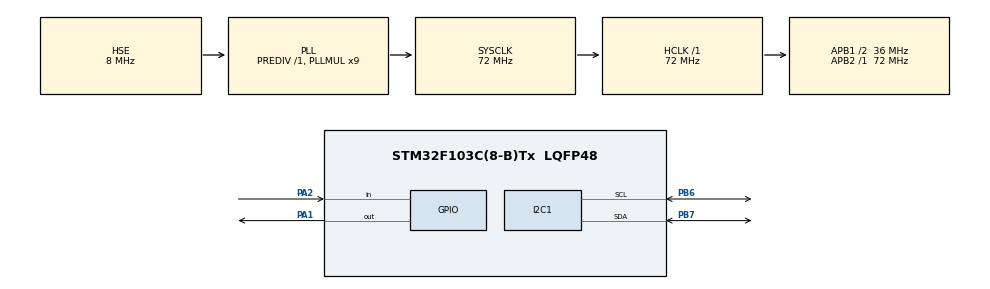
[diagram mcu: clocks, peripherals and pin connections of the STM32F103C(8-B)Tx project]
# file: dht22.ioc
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Mcu.Family=STM32F1
Mcu.Name=STM32F103C(8-B)Tx
Mcu.Package=LQFP48
NVIC.PriorityGroup=NVIC_PRIORITYGROUP_4
PA1.Signal=GPIO_Output
PA13.Mode=Serial_Wire
PA13.Signal=SYS_JTMS-SWDIO
PA14.Mode=Serial_Wire
PA14.Signal=SYS_JTCK-SWCLK
PA2.Signal=GPIO_Input
PB6.Mode=I2C
PB6.Signal=I2C1_SCL
PB7.Mode=I2C
PB7.Signal=I2C1_SDA
PD0-OSC_IN.Mode=HSE-External-Oscillator
PD0-OSC_IN.Signal=RCC_OSC_IN
PD1-OSC_OUT.Mode=HSE-External-Oscillator
PD1-OSC_OUT.Signal=RCC_OSC_OUT
ProjectManager.HeapSize=0x200
ProjectManager.StackSize=0x400
ProjectManager.TargetToolchain=MDK-ARM V5
RCC.AHBFreq_Value=72000000
RCC.APB1CLKDivider=RCC_HCLK_DIV2
RCC.APB1Freq_Value=36000000
RCC.APB1TimFreq_Value=72000000
RCC.APB2Freq_Value=72000000
RCC.APB2TimFreq_Value=72000000
RCC.HCLKFreq_Value=72000000
RCC.PLLMUL=RCC_PLL_MUL9
RCC.PLLSourceVirtual=RCC_PLLSOURCE_HSE
RCC.SYSCLKFreq_VALUE=72000000
RCC.SYSCLKSource=RCC_SYSCLKSOURCE_PLLCLK
RCC.USBFreq_Value=72000000
board=dht22

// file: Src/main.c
/**
  ******************************************************************************
  * File Name          : main.c
  * Description        : Main program body
  ******************************************************************************
  ** This notice applies to any and all portions of this file
  * that are not between comment pairs USER CODE BEGIN and
  * USER CODE END. Other portions of this file, whether
  * inserted by the user or by software development tools
  * are owned by their respective copyright owners.
  *
  * COPYRIGHT(c) 2017 STMicroelectronics
  *
  * Redistribution and use in source and binary forms, with or without modification,
  * are permitted provided that the following conditions are met:
  *   1. Redistributions of source code must retain the above copyright notice,
  *      this list of conditions and the following disclaimer.
  *   2. Redistributions in binary form must reproduce the above copyright notice,
  *      this list of conditions and the following disclaimer in the documentation
  *      and/or other materials provided with the distribution.
  *   3. Neither the name of STMicroelectronics nor the names of its contributors
  *      may be used to endorse or promote products derived from this software
  *      without specific prior written permission.
  *
  * THIS SOFTWARE IS PROVIDED BY THE COPYRIGHT HOLDERS AND CONTRIBUTORS "AS IS"
  * AND ANY EXPRESS OR IMPLIED WARRANTIES, INCLUDING, BUT NOT LIMITED TO, THE
  * IMPLIED WARRANTIES OF MERCHANTABILITY AND FITNESS FOR A PARTICULAR PURPOSE ARE
  * DISCLAIMED. IN NO EVENT SHALL THE COPYRIGHT HOLDER OR CONTRIBUTORS BE LIABLE
  * FOR ANY DIRECT, INDIRECT, INCIDENTAL, SPECIAL, EXEMPLARY, OR CONSEQUENTIAL
  * DAMAGES (INCLUDING, BUT NOT LIMITED TO, PROCUREMENT OF SUBSTITUTE GOODS OR
  * SERVICES; LOSS OF USE, DATA, OR PROFITS; OR BUSINESS INTERRUPTION) HOWEVER
  * CAUSED AND ON ANY THEORY OF LIABILITY, WHETHER IN CONTRACT, STRICT LIABILITY,
  * OR TORT (INCLUDING NEGLIGENCE OR OTHERWISE) ARISING IN ANY WAY OUT OF THE USE
  * OF THIS SOFTWARE, EVEN IF ADVISED OF THE POSSIBILITY OF SUCH DAMAGE.
  *
  ******************************************************************************
  */

#include "main.h"
#include "stm32f1xx_hal.h"

/* USER CODE BEGIN Includes */
#include "dwt_stm32_delay.h"
/* USER CODE END Includes */

I2C_HandleTypeDef hi2c1;

/* USER CODE BEGIN PV */
/* Private variables ---------------------------------------------------------*/
uint8_t Rh_byte1, Rh_byte2, Temp_byte1, Temp_byte2;
uint16_t sum, RH, TEMP;
int temp_low, temp_high, rh_low, rh_high;
char temp_char1[2], temp_char2, rh_char1[2], rh_char2;
uint8_t check = 0;
GPIO_InitTypeDef GPIO_InitStruct;
void set_gpio_output (void)
{
	/*Configure GPIO pin output: PA1 */
  GPIO_InitStruct.Pin = GPIO_PIN_1;
  GPIO_InitStruct.Mode = GPIO_MODE_OUTPUT_PP;
  GPIO_InitStruct.Speed = GPIO_SPEED_FREQ_LOW;
  HAL_GPIO_Init(GPIOA, &GPIO_InitStruct);
}

void set_gpio_input (void)
{
	/*Configure GPIO pin input: PA1 */
  GPIO_InitStruct.Pin = GPIO_PIN_1;
  GPIO_InitStruct.Mode = GPIO_MODE_INPUT;
  GPIO_InitStruct.Pull = GPIO_NOPULL;
  HAL_GPIO_Init(GPIOA, &GPIO_InitStruct);
}

/* USER CODE END PV */

void SystemClock_Config(void);
static void MX_GPIO_Init(void);
static void MX_I2C1_Init(void);

/* USER CODE BEGIN PFP */
/* Private function prototypes -----------------------------------------------*/
void lcd_send_cmd (char cmd)
{
  char data_u, data_l;
	uint8_t data_t[4];
	data_u = cmd&0xf0;
	data_l = (cmd<<4)&0xf0;
	data_t[0] = data_u|0x04;  //en=1, rs=0
	data_t[1] = data_u;  //en=0, rs=0
	data_t[2] = data_l|0x04;  //en=1, rs=0
	data_t[3] = data_l;  //en=0, rs=0
	HAL_I2C_Master_Transmit (&hi2c1, 0x4E,(uint8_t *) data_t, 4, 100);
}

void lcd_send_data (char data)
{
	char data_u, data_l;
	uint8_t data_t[4];
	data_u = data&0xf0;
	data_l = (data<<4)&0xf0;
	data_t[0] = data_u|0x05;  //en=1, rs=0
	data_t[1] = data_u|0x01;  //en=0, rs=0
	data_t[2] = data_l|0x05;  //en=1, rs=0
	data_t[3] = data_l|0x01;  //en=0, rs=0
	HAL_I2C_Master_Transmit (&hi2c1, 0x4E,(uint8_t *) data_t, 4, 100);
}

void lcd_init (void)
{
	lcd_send_cmd (0x02);
	lcd_send_cmd (0x28);
	lcd_send_cmd (0x0c);
	lcd_send_cmd (0x80);
}

void lcd_send_string (char *str)
{
	while (*str) lcd_send_data (*str++);
}

void DHT22_start (void)
{
	set_gpio_output ();  // set the pin as output
	HAL_GPIO_WritePin (GPIOA, GPIO_PIN_1, 0);   // pull the pin low
	DWT_Delay_us (500);   // wait for 500us
	HAL_GPIO_WritePin (GPIOA, GPIO_PIN_1, 1);   // pull the pin high
	DWT_Delay_us (30);   // wait for 30us
	set_gpio_input ();   // set as input
}

void check_response (void)
{
	DWT_Delay_us (40);
	if (!(HAL_GPIO_ReadPin (GPIOA, GPIO_PIN_1)))
	{
		DWT_Delay_us (80);
		if ((HAL_GPIO_ReadPin (GPIOA, GPIO_PIN_1))) check = 1;
	}
	while ((HAL_GPIO_ReadPin (GPIOA, GPIO_PIN_1)));   // wait for the pin to go low
}

uint8_t read_data (void)
{
	uint8_t i,j;
	for (j=0;j<8;j++)
	{
		while (!(HAL_GPIO_ReadPin (GPIOA, GPIO_PIN_1)));   // wait for the pin to go high
		DWT_Delay_us (40);   // wait for 40 us
		if ((HAL_GPIO_ReadPin (GPIOA, GPIO_PIN_1)) == 0)   // if the pin is low
		{
			i&= ~(1<<(7-j));   // write 0
		}
		else i|= (1<<(7-j));  // if the pin is high, write 1
		while ((HAL_GPIO_ReadPin (GPIOA, GPIO_PIN_1)));  // wait for the pin to go low
	}
	return i;
}

/* USER CODE END PFP */

int main(void)
{

  /* MCU Configuration----------------------------------------------------------*/

  /* Reset of all peripherals, Initializes the Flash interface and the Systick. */
  HAL_Init();

  /* Configure the system clock */
  SystemClock_Config();

  /* Initialize all configured peripherals */
  MX_GPIO_Init();
  MX_I2C1_Init();

  /* USER CODE BEGIN 2 */
	DWT_Delay_Init ();
	lcd_init ();

	lcd_send_string("starting....");
	HAL_Delay (1000);
  /* USER CODE END 2 */

  /* Infinite loop */
  while (1)
  {

  /* USER CODE BEGIN 3 */
		DHT22_start ();
		check_response ();
		Rh_byte1 = read_data ();
		Rh_byte2 = read_data ();
		Temp_byte1 = read_data ();
		Temp_byte2 = read_data ();
		sum = read_data();
		//if (sum == (Rh_byte1+Rh_byte2+Temp_byte1+Temp_byte2))
		{
			TEMP = ((Temp_byte1<<8)|Temp_byte2);
			RH = ((Rh_byte1<<8)|Rh_byte2);
		}

		temp_low = TEMP/10;
		temp_high = TEMP%10;

		rh_low = RH/10;
		rh_high = RH%10;

		lcd_send_cmd (0x80);
		lcd_send_string ("TEMP:- ");
		lcd_send_data ((TEMP/100)+48);
		lcd_send_data (((TEMP%100)/10)+48);
		lcd_send_data ('.');
		lcd_send_data ((TEMP%10)+48);
		lcd_send_string ("C");

		lcd_send_cmd (0xC0);
		lcd_send_string ("RH:- ");
		lcd_send_data ((RH/100)+48);
		lcd_send_data (((RH%100)/10)+48);
		lcd_send_data ('.');
		lcd_send_data ((RH%10)+48);
		lcd_send_data ('%');

		HAL_Delay (1000);
  }
  /* USER CODE END 3 */

}

/** System Clock Configuration
*/
void SystemClock_Config(void)
{

  RCC_OscInitTypeDef RCC_OscInitStruct;
  RCC_ClkInitTypeDef RCC_ClkInitStruct;

    /**Initializes the CPU, AHB and APB busses clocks
    */
  RCC_OscInitStruct.OscillatorType = RCC_OSCILLATORTYPE_HSE;
  RCC_OscInitStruct.HSEState = RCC_HSE_ON;
  RCC_OscInitStruct.HSEPredivValue = RCC_HSE_PREDIV_DIV1;
  RCC_OscInitStruct.HSIState = RCC_HSI_ON;
  RCC_OscInitStruct.PLL.PLLState = RCC_PLL_ON;
  RCC_OscInitStruct.PLL.PLLSource = RCC_PLLSOURCE_HSE;
  RCC_OscInitStruct.PLL.PLLMUL = RCC_PLL_MUL9;
  if (HAL_RCC_OscConfig(&RCC_OscInitStruct) != HAL_OK)
  {
    _Error_Handler(__FILE__, __LINE__);
  }

    /**Initializes the CPU, AHB and APB busses clocks
    */
  RCC_ClkInitStruct.ClockType = RCC_CLOCKTYPE_HCLK|RCC_CLOCKTYPE_SYSCLK
                              |RCC_CLOCKTYPE_PCLK1|RCC_CLOCKTYPE_PCLK2;
  RCC_ClkInitStruct.SYSCLKSource = RCC_SYSCLKSOURCE_PLLCLK;
  RCC_ClkInitStruct.AHBCLKDivider = RCC_SYSCLK_DIV1;
  RCC_ClkInitStruct.APB1CLKDivider = RCC_HCLK_DIV2;
  RCC_ClkInitStruct.APB2CLKDivider = RCC_HCLK_DIV1;

  if (HAL_RCC_ClockConfig(&RCC_ClkInitStruct, FLASH_LATENCY_2) != HAL_OK)
  {
    _Error_Handler(__FILE__, __LINE__);
  }

    /**Configure the Systick interrupt time
    */
  HAL_SYSTICK_Config(HAL_RCC_GetHCLKFreq()/1000);

    /**Configure the Systick
    */
  HAL_SYSTICK_CLKSourceConfig(SYSTICK_CLKSOURCE_HCLK);

  /* SysTick_IRQn interrupt configuration */
  HAL_NVIC_SetPriority(SysTick_IRQn, 0, 0);
}

/* I2C1 init function */
static void MX_I2C1_Init(void)
{

  hi2c1.Instance = I2C1;
  hi2c1.Init.ClockSpeed = 100000;
  hi2c1.Init.DutyCycle = I2C_DUTYCYCLE_2;
  hi2c1.Init.OwnAddress1 = 0;
  hi2c1.Init.AddressingMode = I2C_ADDRESSINGMODE_7BIT;
  hi2c1.Init.DualAddressMode = I2C_DUALADDRESS_DISABLE;
  hi2c1.Init.OwnAddress2 = 0;
  hi2c1.Init.GeneralCallMode = I2C_GENERALCALL_DISABLE;
  hi2c1.Init.NoStretchMode = I2C_NOSTRETCH_DISABLE;
  if (HAL_I2C_Init(&hi2c1) != HAL_OK)
  {
    _Error_Handler(__FILE__, __LINE__);
  }

}

/** Configure pins as
        * Analog
        * Input
        * Output
        * EVENT_OUT
        * EXTI
*/
static void MX_GPIO_Init(void)
{

  /* GPIO Ports Clock Enable */
  __HAL_RCC_GPIOD_CLK_ENABLE();
  __HAL_RCC_GPIOA_CLK_ENABLE();
  __HAL_RCC_GPIOB_CLK_ENABLE();

  /*Configure GPIO pin Output Level */
 // HAL_GPIO_WritePin(GPIOA, GPIO_PIN_1, GPIO_PIN_RESET);

  /*Configure GPIO pin : PA2 */
  GPIO_InitStruct.Pin = GPIO_PIN_2;
  GPIO_InitStruct.Mode = GPIO_MODE_INPUT;
  GPIO_InitStruct.Pull = GPIO_NOPULL;
  HAL_GPIO_Init(GPIOA, &GPIO_InitStruct);

}

void _Error_Handler(char * file, int line)
{
  while(1)
  {
  }
}

/************************ (C) COPYRIGHT STMicroelectronics *****END OF FILE****/
